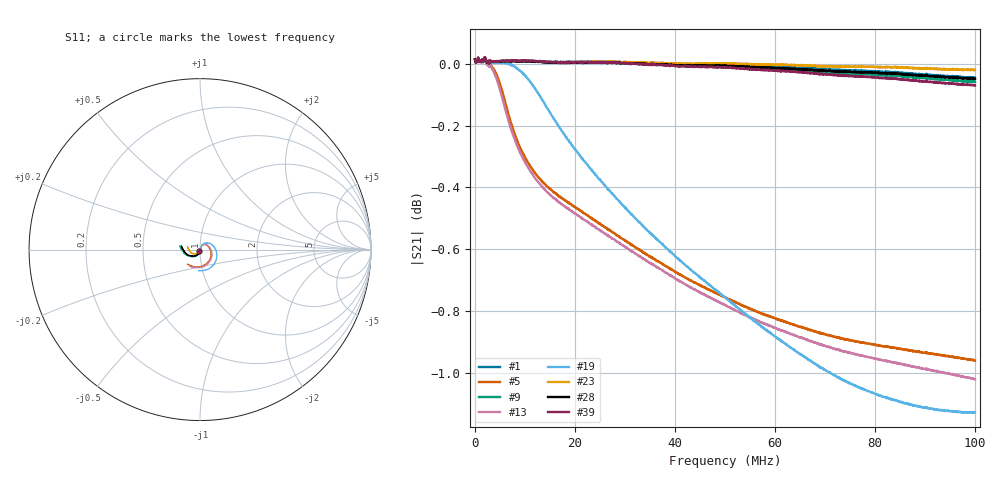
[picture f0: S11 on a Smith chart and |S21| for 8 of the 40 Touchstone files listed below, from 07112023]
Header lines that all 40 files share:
!Agilent Technologies,E5061B,MY49102235,A.02.00
!Data & Calibration Information:
!Freq	S11:SOLT2(ON)	S21:SOLT2(ON)	S12:SOLT2(ON)	S22:SOLT2(ON)
# Hz S RI R 50
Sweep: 5 Hz to 100 MHz
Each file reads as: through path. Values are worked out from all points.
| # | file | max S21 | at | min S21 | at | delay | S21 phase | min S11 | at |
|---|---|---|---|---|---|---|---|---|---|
| 1 | L74504BBN1_10A_AVG.S2P | 0.02 dB | 1.939 MHz | 0.0 dB | 99.75 MHz | 2.95 ns | -53 deg at 50.03 MHz | -50.8 dB | 2.126 MHz |
| 2 | L74504BBN1_15A_AVG.S2P | 0.02 dB | 1.939 MHz | 0.0 dB | 99.75 MHz | 2.8 ns | -50 deg at 50.03 MHz | -48.4 dB | 1.939 MHz |
| 3 | L74504BBN1_20A_AVG.S2P | 0.02 dB | 2.001 MHz | -0.1 dB | 99.81 MHz | 2.78 ns | -50 deg at 50.03 MHz | -48.2 dB | 1.001 MHz |
| 4 | L74504BBN1_25A_AVG.S2P | 0.02 dB | 2.001 MHz | -0.1 dB | 99.75 MHz | 2.78 ns | -50 deg at 50.03 MHz | -48.2 dB | 1.001 MHz |
| 5 | L74504BBN3_0A_AVG.S2P | 0.02 dB | 625.4 kHz | -1.0 dB | 99.75 MHz | 2.84 ns | -54 deg at 50.03 MHz | -45.4 dB | 500.3 kHz |
| 6 | L74504BBN3_5A_AVG.S2P | 0.02 dB | 625.4 kHz | -1.1 dB | 94 MHz | 2.88 ns | -55 deg at 50.03 MHz | -45.1 dB | 250.2 kHz |
| 7 | L74504BBN3_10A_AVG.S2P | 0.02 dB | 2.001 MHz | 0.0 dB | 99.75 MHz | 2.94 ns | -53 deg at 50.03 MHz | -50.7 dB | 2.126 MHz |
| 8 | L74504BBN3_15A_AVG.S2P | 0.02 dB | 1.939 MHz | 0.0 dB | 99.75 MHz | 2.81 ns | -51 deg at 50.03 MHz | -48.4 dB | 1.939 MHz |
| 9 | L74504BBN3_20A_AVG.S2P | 0.02 dB | 2.001 MHz | -0.1 dB | 99.81 MHz | 2.79 ns | -50 deg at 50.03 MHz | -48.3 dB | 1.001 MHz |
| 10 | L74504BBN3_25A_AVG.S2P | 0.02 dB | 2.001 MHz | -0.1 dB | 99.75 MHz | 2.78 ns | -50 deg at 50.03 MHz | -48.3 dB | 1.001 MHz |
| 11 | L74504BBN4_0A_AVG.S2P | 0.02 dB | 625.4 kHz | -1.0 dB | 99.81 MHz | 2.85 ns | -54 deg at 50.03 MHz | -45.3 dB | 500.3 kHz |
| 12 | L74504BBN4_1A_AVG.S2P | 0.02 dB | 625.4 kHz | -1.0 dB | 99.81 MHz | 2.85 ns | -54 deg at 50.03 MHz | -45.1 dB | 250.2 kHz |
| 13 | L74504BBN4_2A_AVG.S2P | 0.02 dB | 625.4 kHz | -1.0 dB | 99.81 MHz | 2.86 ns | -54 deg at 50.03 MHz | -45.2 dB | 500.3 kHz |
| 14 | L74504BBN4_3A_AVG.S2P | 0.02 dB | 625.4 kHz | -1.0 dB | 99.81 MHz | 2.86 ns | -54 deg at 50.03 MHz | -45.2 dB | 500.3 kHz |
| 15 | L74504BBN4_4A_AVG.S2P | 0.02 dB | 625.4 kHz | -1.0 dB | 99.81 MHz | 2.87 ns | -54 deg at 50.03 MHz | -45.2 dB | 250.2 kHz |
| 16 | L74504BBN4_5A_AVG.S2P | 0.02 dB | 625.4 kHz | -1.0 dB | 99.75 MHz | 2.88 ns | -55 deg at 50.03 MHz | -45.2 dB | 500.3 kHz |
| 17 | L74504BBN4_6A_AVG.S2P | 0.02 dB | 625.4 kHz | -1.1 dB | 88.87 MHz | 2.88 ns | -55 deg at 50.03 MHz | -45.2 dB | 500.3 kHz |
| 18 | L74504BBN4_7A_AVG.S2P | 0.02 dB | 625.4 kHz | -1.1 dB | 88.87 MHz | 2.91 ns | -56 deg at 50.03 MHz | -45.5 dB | 500.3 kHz |
| 19 | L74504BBN4_8A_AVG.S2P | 0.02 dB | 2.001 MHz | -1.1 dB | 99.81 MHz | 2.98 ns | -57 deg at 50.03 MHz | -46.2 dB | 500.3 kHz |
| 20 | L74504BBN4_9A_AVG.S2P | 0.02 dB | 1.939 MHz | -0.7 dB | 99.81 MHz | 3.09 ns | -57 deg at 50.03 MHz | -48.4 dB | 2.126 MHz |
| 21 | L74504BBN4_10A_AVG.S2P | 0.02 dB | 1.939 MHz | -0.1 dB | 99.75 MHz | 2.99 ns | -54 deg at 50.03 MHz | -52.4 dB | 16.26 MHz |
| 22 | L74504BBN4_11A_AVG.S2P | 0.02 dB | 1.939 MHz | 0.0 dB | 99.75 MHz | 2.9 ns | -52 deg at 50.03 MHz | -50.0 dB | 2.126 MHz |
| 23 | L74504BBN4_12A_AVG.S2P | 0.02 dB | 2.001 MHz | 0.0 dB | 99.75 MHz | 2.86 ns | -51 deg at 50.03 MHz | -49.3 dB | 2.126 MHz |
| 24 | L74504BBN4_13A_AVG.S2P | 0.02 dB | 2.001 MHz | 0.0 dB | 99.75 MHz | 2.83 ns | -51 deg at 50.03 MHz | -48.9 dB | 2.126 MHz |
| 25 | L74504BBN4_14A_AVG.S2P | 0.02 dB | 2.001 MHz | 0.0 dB | 99.75 MHz | 2.82 ns | -51 deg at 50.03 MHz | -48.6 dB | 1.939 MHz |
| 26 | L74504BBN4_15A_AVG.S2P | 0.02 dB | 2.001 MHz | 0.0 dB | 99.75 MHz | 2.81 ns | -51 deg at 50.03 MHz | -48.5 dB | 1.939 MHz |
| 27 | L74504BBN4_16A_AVG.S2P | 0.02 dB | 1.939 MHz | 0.0 dB | 99.75 MHz | 2.8 ns | -50 deg at 50.03 MHz | -48.4 dB | 1.939 MHz |
| 28 | L74504BBN4_17A_AVG.S2P | 0.02 dB | 2.001 MHz | 0.0 dB | 99.75 MHz | 2.8 ns | -50 deg at 50.03 MHz | -48.3 dB | 1.939 MHz |
| 29 | L74504BBN4_18A_AVG.S2P | 0.02 dB | 2.001 MHz | -0.1 dB | 99.75 MHz | 2.79 ns | -50 deg at 50.03 MHz | -48.3 dB | 1.001 MHz |
| 30 | L74504BBN4_19A_AVG.S2P | 0.02 dB | 2.001 MHz | -0.1 dB | 99.75 MHz | 2.79 ns | -50 deg at 50.03 MHz | -48.3 dB | 1.001 MHz |
| 31 | L74504BBN4_20A_AVG.S2P | 0.02 dB | 2.001 MHz | -0.1 dB | 99.75 MHz | 2.79 ns | -50 deg at 50.03 MHz | -48.3 dB | 1.001 MHz |
| 32 | L74504BBN4_21A_AVG.S2P | 0.02 dB | 1.939 MHz | -0.1 dB | 99.75 MHz | 2.78 ns | -50 deg at 50.03 MHz | -48.2 dB | 1.001 MHz |
| 33 | L74504BBN4_22A_AVG.S2P | 0.02 dB | 2.001 MHz | -0.1 dB | 99.75 MHz | 2.78 ns | -50 deg at 50.03 MHz | -48.3 dB | 1.001 MHz |
| 34 | L74504BBN4_23A_AVG.S2P | 0.02 dB | 2.001 MHz | -0.1 dB | 99.75 MHz | 2.78 ns | -50 deg at 50.03 MHz | -48.2 dB | 1.001 MHz |
| 35 | L74504BBN4_24A_AVG.S2P | 0.02 dB | 1.939 MHz | -0.1 dB | 99.75 MHz | 2.78 ns | -50 deg at 50.03 MHz | -48.2 dB | 1.001 MHz |
| 36 | L74504BBN4_25A_AVG.S2P | 0.02 dB | 1.939 MHz | -0.1 dB | 99.75 MHz | 2.78 ns | -50 deg at 50.03 MHz | -48.2 dB | 1.001 MHz |
| 37 | L76583BCN1_0A_AVG.S2P | 0.02 dB | 625.4 kHz | -1.0 dB | 99.75 MHz | 2.83 ns | -54 deg at 50.03 MHz | -45.3 dB | 500.3 kHz |
| 38 | L76583BCN1_5A_AVG.S2P | 0.02 dB | 625.4 kHz | -1.1 dB | 87.55 MHz | 2.86 ns | -55 deg at 50.03 MHz | -45.4 dB | 500.3 kHz |
| 39 | L76583BCN1_10A_AVG.S2P | 0.02 dB | 2.001 MHz | -0.1 dB | 99.81 MHz | 2.99 ns | -54 deg at 50.03 MHz | -51.1 dB | 2.126 MHz |
| 40 | L76583BCN1_15A_AVG.S2P | 0.02 dB | 1.939 MHz | 0.0 dB | 99.75 MHz | 2.81 ns | -51 deg at 50.03 MHz | -48.4 dB | 1.939 MHz |
